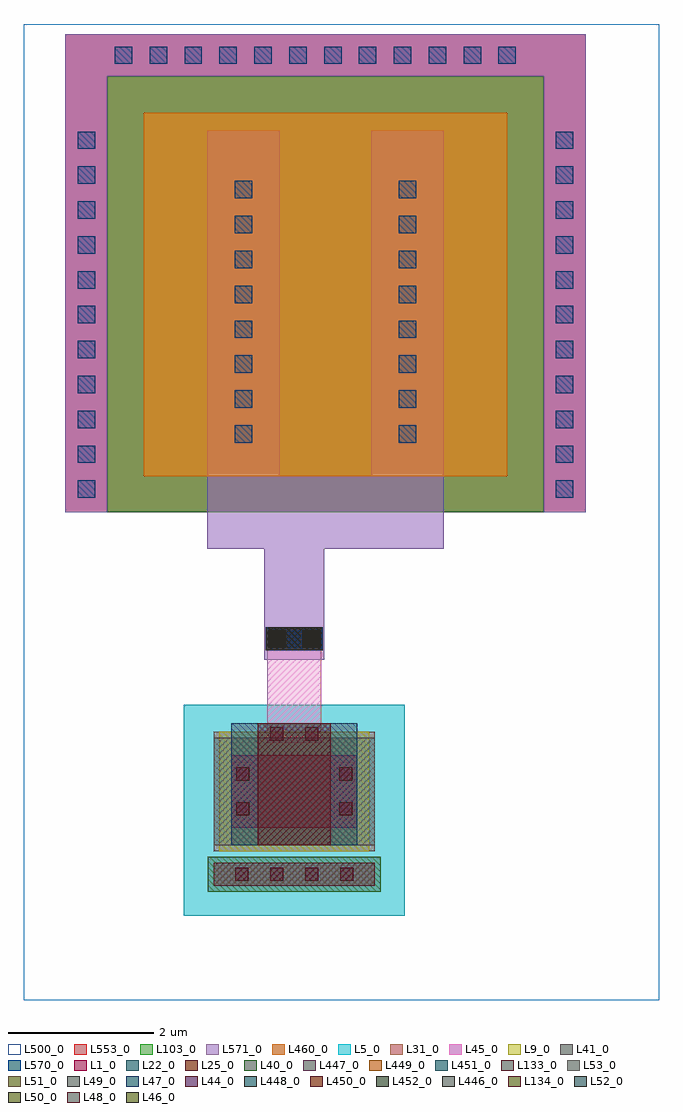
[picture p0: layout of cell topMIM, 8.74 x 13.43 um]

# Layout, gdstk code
import gdstk
lib = gdstk.Library(unit=1e-6, precision=1e-09)
def R(c, l, rs):  # rectangles x0, y0, x1, y1
    for r in rs: c.add(gdstk.rectangle(r[:2], r[2:], *l))
def A(c, l, x, y, w, h, nx, ny, dx, dy):  # array of equal rectangles
    R(c, l, [(x+i*dx, y+j*dy, x+i*dx+w, y+j*dy+h) for i in range(nx) for j in range(ny)])
L1_0 = (1, 0)
L5_0 = (5, 0)
L9_0 = (9, 0)
L22_0 = (22, 0)
L25_0 = (25, 0)
L31_0 = (31, 0)
L40_0 = (40, 0)
L41_0 = (41, 0)
L44_0 = (44, 0)
L45_0 = (45, 0)
L46_0 = (46, 0)
L47_0 = (47, 0)
L48_0 = (48, 0)
L49_0 = (49, 0)
L50_0 = (50, 0)
L51_0 = (51, 0)
L52_0 = (52, 0)
L53_0 = (53, 0)
L103_0 = (103, 0)
L133_0 = (133, 0)
L134_0 = (134, 0)
L446_0 = (446, 0)
L447_0 = (447, 0)
L448_0 = (448, 0)
L449_0 = (449, 0)
L450_0 = (450, 0)
L451_0 = (451, 0)
L452_0 = (452, 0)
L460_0 = (460, 0)
L500_0 = (500, 0)
L553_0 = (553, 0)
L570_0 = (570, 0)
L571_0 = (571, 0)

cmim_top_cdns_4603858495 = lib.new_cell('cmim_top_CDNS_460385849500')
R(cmim_top_cdns_4603858495, L103_0, [(-3,-3,3,3)])
R(cmim_top_cdns_4603858495, L460_0, [(-2.5,-2.5,2.5,2.5)])
R(cmim_top_cdns_4603858495, L553_0, [(-3.58,-3,3.58,3.58)])
A(cmim_top_cdns_4603858495, L570_0, -3.41, -2.8, 0.24, 0.24, 1, 11, 0, 0.48)
A(cmim_top_cdns_4603858495, L570_0, 3.17, -2.8, 0.24, 0.24, 1, 11, 0, 0.48)
A(cmim_top_cdns_4603858495, L570_0, -1.25, -2.04, 0.24, 0.24, 1, 8, 0, 0.48)
A(cmim_top_cdns_4603858495, L570_0, 1.01, -2.04, 0.24, 0.24, 1, 8, 0, 0.48)
A(cmim_top_cdns_4603858495, L570_0, -2.9, 3.17, 0.24, 0.24, 12, 1, 0.48, 0)
R(cmim_top_cdns_4603858495, L571_0, [(-1.63,-3.5,1.63,-2.5), (-1.52,-3.34,-1.28,-3.1), (-3.58,-3,-3,3.58), (3,-3,3.58,3.58), (-1.63,-2.5,-0.63,2.25), (0.63,-2.5,1.63,2.25), (-3.41,-2.3,-3.17,-2.06), (-3.58,3,3.58,3.58)])

abutcontact_cdns_4603858 = lib.new_cell('AbutContact_CDNS_460385849502')
R(abutcontact_cdns_4603858, L1_0, [(0,-0.03,2.22,0.29)])
A(abutcontact_cdns_4603858, L44_0, 0.3, 0.04, 0.18, 0.18, 4, 1, 0.48, 0)
R(abutcontact_cdns_4603858, L45_0, [(0,-0.03,2.22,0.29)])

nmos_hs_4_cdns_460385849 = lib.new_cell('nmos_hs_4_CDNS_460385849501')
R(nmos_hs_4_cdns_460385849, L1_0, [(-0.37,0,0,1), (0,0,1,1), (1,0,1.37,1), (-0.37,0.1,-0.05,0.9), (1.05,0.1,1.37,0.9)])
R(nmos_hs_4_cdns_460385849, L5_0, [(-1.02,-1.21,2.02,1.69), (-0.77,-0.96,1.77,1.32)])
R(nmos_hs_4_cdns_460385849, L9_0, [(-0.53,-0.32,1.53,1.32)])
R(nmos_hs_4_cdns_460385849, L22_0, [(-0.37,-0.24,1.37,1.44)])
R(nmos_hs_4_cdns_460385849, L25_0, [(0,-0.24,1,0), (0,-0.24,1,1.24), (0,1,1,1.24), (0,1.14,1,1.44), (0.11,1.14,0.89,1.44)])
R(nmos_hs_4_cdns_460385849, L31_0, [(-0.61,-0.32,1.61,1.32)])
R(nmos_hs_4_cdns_460385849, L40_0, [(-0.69,-0.88,1.69,-0.4)])
R(nmos_hs_4_cdns_460385849, L41_0, [(-0.61,-0.24,1.61,1.24)])
R(nmos_hs_4_cdns_460385849, L44_0, [(-0.3,0.17,-0.12,0.35), (1.12,0.17,1.3,0.35), (-0.3,0.65,-0.12,0.83), (1.12,0.65,1.3,0.83), (0.17,1.2,0.35,1.38), (0.65,1.2,0.83,1.38)])
R(nmos_hs_4_cdns_460385849, L45_0, [(-0.61,-0.8,1.61,-0.48), (-0.37,0.1,-0.05,0.9), (1.05,0.1,1.37,0.9), (0.13,1.17,0.87,1.41)])
nmos_hs_4_cdns_460385849.add(gdstk.Reference(abutcontact_cdns_4603858, (-0.61,-0.77)))

m2_top_m3_top_cdns_46038 = lib.new_cell('M2_top_M3_top_CDNS_460385849500')
R(m2_top_m3_top_cdns_46038, L447_0, [(-0.39,-0.16,0.39,0.16)])
R(m2_top_m3_top_cdns_46038, L448_0, [(-0.36,-0.12,-0.12,0.12), (0.12,-0.12,0.36,0.12)])
R(m2_top_m3_top_cdns_46038, L449_0, [(-0.39,-0.16,0.39,0.16)])

m3_top_m4_top_cdns_46038 = lib.new_cell('M3_top_M4_top_CDNS_460385849501')
R(m3_top_m4_top_cdns_46038, L449_0, [(-0.39,-0.16,0.39,0.16)])
R(m3_top_m4_top_cdns_46038, L450_0, [(-0.36,-0.12,-0.12,0.12), (0.12,-0.12,0.36,0.12)])
R(m3_top_m4_top_cdns_46038, L451_0, [(-0.39,-0.16,0.39,0.16)])

m4_top_m5_top_cdns_46038 = lib.new_cell('M4_top_M5_top_CDNS_460385849502')
R(m4_top_m5_top_cdns_46038, L451_0, [(-0.39,-0.16,0.39,0.16)])
R(m4_top_m5_top_cdns_46038, L452_0, [(-0.36,-0.12,-0.12,0.12), (0.12,-0.12,0.36,0.12)])
R(m4_top_m5_top_cdns_46038, L553_0, [(-0.39,-0.16,0.39,0.16)])

m5_top_mf_top_cdns_46038 = lib.new_cell('M5_top_MF_top_CDNS_460385849503')
R(m5_top_mf_top_cdns_46038, L553_0, [(-0.39,-0.16,0.39,0.16)])
R(m5_top_mf_top_cdns_46038, L570_0, [(-0.36,-0.12,-0.12,0.12), (0.12,-0.12,0.36,0.12)])
R(m5_top_mf_top_cdns_46038, L571_0, [(-0.41,-0.29,0.41,0.29)])

m1_top_m2_top_cdns_46038 = lib.new_cell('M1_top_M2_top_CDNS_460385849504')
R(m1_top_m2_top_cdns_46038, L133_0, [(-0.39,-0.16,0.39,0.16)])
R(m1_top_m2_top_cdns_46038, L446_0, [(-0.36,-0.12,-0.12,0.12), (0.12,-0.12,0.36,0.12)])
R(m1_top_m2_top_cdns_46038, L447_0, [(-0.39,-0.16,0.39,0.16)])

m5_m1_top_cdns_460385849 = lib.new_cell('M5_M1_top_CDNS_460385849505')
R(m5_m1_top_cdns_460385849, L53_0, [(-0.39,-0.16,0.39,0.16)])
R(m5_m1_top_cdns_460385849, L133_0, [(-0.39,-0.16,0.39,0.16)])
R(m5_m1_top_cdns_460385849, L134_0, [(-0.36,-0.12,-0.12,0.12), (0.12,-0.12,0.36,0.12)])

m4_m5_cdns_460385849506 = lib.new_cell('M4_M5_CDNS_460385849506')
R(m4_m5_cdns_460385849506, L51_0, [(-0.39,-0.16,0.39,0.16)])
R(m4_m5_cdns_460385849506, L52_0, [(-0.36,-0.12,-0.12,0.12), (0.12,-0.12,0.36,0.12)])
R(m4_m5_cdns_460385849506, L53_0, [(-0.39,-0.16,0.39,0.16)])

m3_m4_cdns_460385849507 = lib.new_cell('M3_M4_CDNS_460385849507')
R(m3_m4_cdns_460385849507, L49_0, [(-0.39,-0.16,0.39,0.16)])
R(m3_m4_cdns_460385849507, L50_0, [(-0.36,-0.12,-0.12,0.12), (0.12,-0.12,0.36,0.12)])
R(m3_m4_cdns_460385849507, L51_0, [(-0.39,-0.16,0.39,0.16)])

m2_m3_cdns_460385849508 = lib.new_cell('M2_M3_CDNS_460385849508')
R(m2_m3_cdns_460385849508, L47_0, [(-0.39,-0.16,0.39,0.16)])
R(m2_m3_cdns_460385849508, L48_0, [(-0.36,-0.12,-0.12,0.12), (0.12,-0.12,0.36,0.12)])
R(m2_m3_cdns_460385849508, L49_0, [(-0.39,-0.16,0.39,0.16)])

m1_m2_cdns_460385849509 = lib.new_cell('M1_M2_CDNS_460385849509')
R(m1_m2_cdns_460385849509, L45_0, [(-0.39,-0.16,0.39,0.16)])
R(m1_m2_cdns_460385849509, L46_0, [(-0.36,-0.12,-0.12,0.12), (0.12,-0.12,0.36,0.12)])
R(m1_m2_cdns_460385849509, L47_0, [(-0.39,-0.16,0.39,0.16)])

topmim = lib.new_cell('topMIM')
R(topmim, L45_0, [(-2.29,3.28,-1.55,4.87)])
R(topmim, L500_0, [(-5.64,-0.26,3.1,13.17)])
R(topmim, L571_0, [(-2.33,4.42,-1.51,6.84)])
topmim.add(gdstk.Reference(cmim_top_cdns_4603858495, (-1.49,9.45)))
topmim.add(gdstk.Reference(nmos_hs_4_cdns_460385849, (-2.42,2.11)))
topmim.add(gdstk.Reference(m2_top_m3_top_cdns_46038, (-1.92,4.71)))
topmim.add(gdstk.Reference(m3_top_m4_top_cdns_46038, (-1.92,4.71)))
topmim.add(gdstk.Reference(m4_top_m5_top_cdns_46038, (-1.92,4.71)))
topmim.add(gdstk.Reference(m5_top_mf_top_cdns_46038, (-1.92,4.71)))
topmim.add(gdstk.Reference(m1_top_m2_top_cdns_46038, (-1.92,4.71)))
topmim.add(gdstk.Reference(m5_m1_top_cdns_460385849, (-1.92,4.71)))
topmim.add(gdstk.Reference(m4_m5_cdns_460385849506, (-1.92,4.71)))
topmim.add(gdstk.Reference(m3_m4_cdns_460385849507, (-1.92,4.71)))
topmim.add(gdstk.Reference(m2_m3_cdns_460385849508, (-1.92,4.71)))
topmim.add(gdstk.Reference(m1_m2_cdns_460385849509, (-1.92,4.71)))

lib.write_gds('topMIM.gds')
